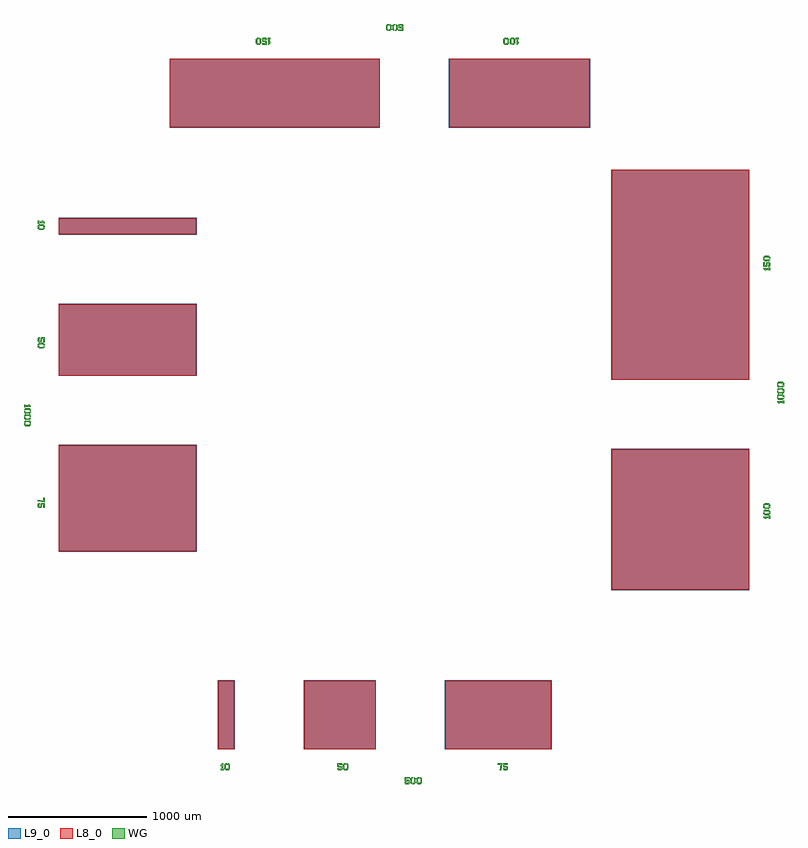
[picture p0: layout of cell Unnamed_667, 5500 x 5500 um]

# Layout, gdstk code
from math import pi, radians
import gdstk
lib = gdstk.Library(unit=1e-6, precision=1e-09)
def R(c, l, rs):  # rectangles x0, y0, x1, y1
    for r in rs: c.add(gdstk.rectangle(r[:2], r[2:], *l))
def P(c, l, *ps):  # polygons
    for p in ps: c.add(gdstk.Polygon(p, *l))
WG = (1, 0)
L8_0 = (8, 0)
L9_0 = (9, 0)

rectangle_s1522_1000_l9_ = lib.new_cell('rectangle_S1522_1000_L9_b6fc3a18')
R(rectangle_s1522_1000_l9_, L9_0, [(0,0,1522,1000)])

text_t150_s50_p0_0_jleft = lib.new_cell('text_T150_S50_P0_0_Jleft_L1_0')
P(text_t150_s50_p0_0_jleft, WG, [(88.5,0),(91,10),(95,10),(100,15),(100,35),(95,40),(97.5,50),(100,50),(110,40),(110,10),(100,0)],
  [(80,0),(70,10),(70,40),(80,50),(91.5,50),(89,40),(85,40),(80,35),(80,15),(85,10),(82.5,0)],
  [(35,0),(30,5),(30,15),(40,15),(40,10),(55,10),(55,20),(35,20),(30,25),(30,50),(65,50),(65,40),(40,40),(40,30),(60,30),(65,25),(65,5),(60,0)],
  [(5,0),(5,10),(10,10),(10,30),(5,30),(5,40),(15,50),(20,50),(20,10),(25,10),(25,0)])

rectangle_s150_998_l8_0_ = lib.new_cell('rectangle_S150_998_L8_0_cd40ac17')
R(rectangle_s150_998_l8_0_, L8_0, [(0,0,150,998)])

unnamed_656 = lib.new_cell('Unnamed_656')
unnamed_656.add(gdstk.Reference(rectangle_s1522_1000_l9_, (-347.455,0)))
unnamed_656.add(gdstk.Reference(text_t150_s50_p0_0_jleft, (440.545,-150)))
unnamed_656.add(gdstk.Reference(rectangle_s150_998_l8_0_, (-345.455,0)))
unnamed_656.add(gdstk.Reference(rectangle_s150_998_l8_0_, (-193.455,0)))
unnamed_656.add(gdstk.Reference(rectangle_s150_998_l8_0_, (-41.455,0)))
unnamed_656.add(gdstk.Reference(rectangle_s150_998_l8_0_, (110.545,0)))
unnamed_656.add(gdstk.Reference(rectangle_s150_998_l8_0_, (262.545,0)))
unnamed_656.add(gdstk.Reference(rectangle_s150_998_l8_0_, (414.545,0)))
unnamed_656.add(gdstk.Reference(rectangle_s150_998_l8_0_, (566.545,0)))
unnamed_656.add(gdstk.Reference(rectangle_s150_998_l8_0_, (718.545,0)))
unnamed_656.add(gdstk.Reference(rectangle_s150_998_l8_0_, (870.545,0)))
unnamed_656.add(gdstk.Reference(rectangle_s150_998_l8_0_, (1022.545,0)))

text_t1000_s50_p0_0_jlef = lib.new_cell('text_T1000_S50_P0_0_Jleft_L1_0')
P(text_t1000_s50_p0_0_jlef, WG, [(48.5,0),(51,10),(55,10),(60,15),(60,35),(55,40),(57.5,50),(60,50),(70,40),(70,10),(60,0)],
  [(93.5,0),(96,10),(100,10),(105,15),(105,35),(100,40),(102.5,50),(105,50),(115,40),(115,10),(105,0)],
  [(138.5,0),(141,10),(145,10),(150,15),(150,35),(145,40),(147.5,50),(150,50),(160,40),(160,10),(150,0)],
  [(40,0),(30,10),(30,40),(40,50),(51.5,50),(49,40),(45,40),(40,35),(40,15),(45,10),(42.5,0)],
  [(85,0),(75,10),(75,40),(85,50),(96.5,50),(94,40),(90,40),(85,35),(85,15),(90,10),(87.5,0)],
  [(130,0),(120,10),(120,40),(130,50),(141.5,50),(139,40),(135,40),(130,35),(130,15),(135,10),(132.5,0)],
  [(5,0),(5,10),(10,10),(10,30),(5,30),(5,40),(15,50),(20,50),(20,10),(25,10),(25,0)])

rectangle_s1022_1000_l9_ = lib.new_cell('rectangle_S1022_1000_L9_34ee5ec5')
R(rectangle_s1022_1000_l9_, L9_0, [(0,0,1022,1000)])

text_t100_s50_p0_0_jleft = lib.new_cell('text_T100_S50_P0_0_Jleft_L1_0')
P(text_t100_s50_p0_0_jleft, WG, [(48.5,0),(51,10),(55,10),(60,15),(60,35),(55,40),(57.5,50),(60,50),(70,40),(70,10),(60,0)],
  [(93.5,0),(96,10),(100,10),(105,15),(105,35),(100,40),(102.5,50),(105,50),(115,40),(115,10),(105,0)],
  [(40,0),(30,10),(30,40),(40,50),(51.5,50),(49,40),(45,40),(40,35),(40,15),(45,10),(42.5,0)],
  [(85,0),(75,10),(75,40),(85,50),(96.5,50),(94,40),(90,40),(85,35),(85,15),(90,10),(87.5,0)],
  [(5,0),(5,10),(10,10),(10,30),(5,30),(5,40),(15,50),(20,50),(20,10),(25,10),(25,0)])

rectangle_s100_998_l8_0_ = lib.new_cell('rectangle_S100_998_L8_0_c306aa22')
R(rectangle_s100_998_l8_0_, L8_0, [(0,0,100,998)])

unnamed_655 = lib.new_cell('Unnamed_655')
unnamed_655.add(gdstk.Reference(rectangle_s1022_1000_l9_, (-347.455,0)))
unnamed_655.add(gdstk.Reference(text_t100_s50_p0_0_jleft, (165.545,-150)))
unnamed_655.add(gdstk.Reference(rectangle_s100_998_l8_0_, (-345.455,0)))
unnamed_655.add(gdstk.Reference(rectangle_s100_998_l8_0_, (-243.455,0)))
unnamed_655.add(gdstk.Reference(rectangle_s100_998_l8_0_, (-141.455,0)))
unnamed_655.add(gdstk.Reference(rectangle_s100_998_l8_0_, (-39.455,0)))
unnamed_655.add(gdstk.Reference(rectangle_s100_998_l8_0_, (62.545,0)))
unnamed_655.add(gdstk.Reference(rectangle_s100_998_l8_0_, (164.545,0)))
unnamed_655.add(gdstk.Reference(rectangle_s100_998_l8_0_, (266.545,0)))
unnamed_655.add(gdstk.Reference(rectangle_s100_998_l8_0_, (368.545,0)))
unnamed_655.add(gdstk.Reference(rectangle_s100_998_l8_0_, (470.545,0)))
unnamed_655.add(gdstk.Reference(rectangle_s100_998_l8_0_, (572.545,0)))

unnamed_666 = lib.new_cell('Unnamed_666')
unnamed_666.add(gdstk.Reference(unnamed_656, (3022,0)))
unnamed_666.add(gdstk.Reference(text_t1000_s50_p0_0_jlef, (2500,-250)))
unnamed_666.add(gdstk.Reference(unnamed_655, (1500,0)))

rectangle_s772_1000_l9__ = lib.new_cell('rectangle_S772_1000_L9__6c6e360b')
R(rectangle_s772_1000_l9__, L9_0, [(0,0,772,1000)])

text_t75_s50_p0_0_jleft_ = lib.new_cell('text_T75_S50_P0_0_Jleft_L1_0')
P(text_t75_s50_p0_0_jleft_, WG, [(50,0),(45,5),(45,15),(55,15),(55,10),(70,10),(70,20),(50,20),(45,25),(45,50),(80,50),(80,40),(55,40),(55,30),(75,30),(80,25),(80,5),(75,0)],
  [(20,0),(28,40),(5,40),(5,50),(40,50),(30,0)])

rectangle_s75_998_l8_0__ = lib.new_cell('rectangle_S75_998_L8_0__cc8ebacf')
R(rectangle_s75_998_l8_0__, L8_0, [(0,0,75,998)])

unnamed_654 = lib.new_cell('Unnamed_654')
unnamed_654.add(gdstk.Reference(rectangle_s772_1000_l9__, (-347.455,0)))
unnamed_654.add(gdstk.Reference(text_t75_s50_p0_0_jleft_, (28.045,-150)))
unnamed_654.add(gdstk.Reference(rectangle_s75_998_l8_0__, (-345.455,0)))
unnamed_654.add(gdstk.Reference(rectangle_s75_998_l8_0__, (-268.455,0)))
unnamed_654.add(gdstk.Reference(rectangle_s75_998_l8_0__, (-191.455,0)))
unnamed_654.add(gdstk.Reference(rectangle_s75_998_l8_0__, (-114.455,0)))
unnamed_654.add(gdstk.Reference(rectangle_s75_998_l8_0__, (-37.455,0)))
unnamed_654.add(gdstk.Reference(rectangle_s75_998_l8_0__, (39.545,0)))
unnamed_654.add(gdstk.Reference(rectangle_s75_998_l8_0__, (116.545,0)))
unnamed_654.add(gdstk.Reference(rectangle_s75_998_l8_0__, (193.545,0)))
unnamed_654.add(gdstk.Reference(rectangle_s75_998_l8_0__, (270.545,0)))
unnamed_654.add(gdstk.Reference(rectangle_s75_998_l8_0__, (347.545,0)))

rectangle_s522_1000_l9__ = lib.new_cell('rectangle_S522_1000_L9__e8a8a2df')
R(rectangle_s522_1000_l9__, L9_0, [(0,0,522,1000)])

text_t50_s50_p0_0_jleft_ = lib.new_cell('text_T50_S50_P0_0_Jleft_L1_0')
P(text_t50_s50_p0_0_jleft_, WG, [(63.5,0),(66,10),(70,10),(75,15),(75,35),(70,40),(72.5,50),(75,50),(85,40),(85,10),(75,0)],
  [(55,0),(45,10),(45,40),(55,50),(66.5,50),(64,40),(60,40),(55,35),(55,15),(60,10),(57.5,0)],
  [(10,0),(5,5),(5,15),(15,15),(15,10),(30,10),(30,20),(10,20),(5,25),(5,50),(40,50),(40,40),(15,40),(15,30),(35,30),(40,25),(40,5),(35,0)])

rectangle_s50_998_l8_0__ = lib.new_cell('rectangle_S50_998_L8_0__a3cc393b')
R(rectangle_s50_998_l8_0__, L8_0, [(0,0,50,998)])

unnamed_653 = lib.new_cell('Unnamed_653')
unnamed_653.add(gdstk.Reference(rectangle_s522_1000_l9__, (-347.455,0)))
unnamed_653.add(gdstk.Reference(text_t50_s50_p0_0_jleft_, (-109.455,-150)))
unnamed_653.add(gdstk.Reference(rectangle_s50_998_l8_0__, (-345.455,0)))
unnamed_653.add(gdstk.Reference(rectangle_s50_998_l8_0__, (-293.455,0)))
unnamed_653.add(gdstk.Reference(rectangle_s50_998_l8_0__, (-241.455,0)))
unnamed_653.add(gdstk.Reference(rectangle_s50_998_l8_0__, (-189.455,0)))
unnamed_653.add(gdstk.Reference(rectangle_s50_998_l8_0__, (-137.455,0)))
unnamed_653.add(gdstk.Reference(rectangle_s50_998_l8_0__, (-85.455,0)))
unnamed_653.add(gdstk.Reference(rectangle_s50_998_l8_0__, (-33.455,0)))
unnamed_653.add(gdstk.Reference(rectangle_s50_998_l8_0__, (18.545,0)))
unnamed_653.add(gdstk.Reference(rectangle_s50_998_l8_0__, (70.545,0)))
unnamed_653.add(gdstk.Reference(rectangle_s50_998_l8_0__, (122.545,0)))

rectangle_s122_1000_l9__ = lib.new_cell('rectangle_S122_1000_L9__1de77251')
R(rectangle_s122_1000_l9__, L9_0, [(0,0,122,1000)])

text_t10_s50_p0_0_jleft_ = lib.new_cell('text_T10_S50_P0_0_Jleft_L1_0')
P(text_t10_s50_p0_0_jleft_, WG, [(48.5,0),(51,10),(55,10),(60,15),(60,35),(55,40),(57.5,50),(60,50),(70,40),(70,10),(60,0)],
  [(40,0),(30,10),(30,40),(40,50),(51.5,50),(49,40),(45,40),(40,35),(40,15),(45,10),(42.5,0)],
  [(5,0),(5,10),(10,10),(10,30),(5,30),(5,40),(15,50),(20,50),(20,10),(25,10),(25,0)])

rectangle_s10_998_l8_0__ = lib.new_cell('rectangle_S10_998_L8_0__618c10ad')
R(rectangle_s10_998_l8_0__, L8_0, [(0,0,10,998)])

unnamed_652 = lib.new_cell('Unnamed_652')
unnamed_652.add(gdstk.Reference(rectangle_s122_1000_l9__, (-347.455,0)))
unnamed_652.add(gdstk.Reference(text_t10_s50_p0_0_jleft_, (-329.455,-150)))
unnamed_652.add(gdstk.Reference(rectangle_s10_998_l8_0__, (-345.455,0)))
unnamed_652.add(gdstk.Reference(rectangle_s10_998_l8_0__, (-333.455,0)))
unnamed_652.add(gdstk.Reference(rectangle_s10_998_l8_0__, (-321.455,0)))
unnamed_652.add(gdstk.Reference(rectangle_s10_998_l8_0__, (-309.455,0)))
unnamed_652.add(gdstk.Reference(rectangle_s10_998_l8_0__, (-297.455,0)))
unnamed_652.add(gdstk.Reference(rectangle_s10_998_l8_0__, (-285.455,0)))
unnamed_652.add(gdstk.Reference(rectangle_s10_998_l8_0__, (-273.455,0)))
unnamed_652.add(gdstk.Reference(rectangle_s10_998_l8_0__, (-261.455,0)))
unnamed_652.add(gdstk.Reference(rectangle_s10_998_l8_0__, (-249.455,0)))
unnamed_652.add(gdstk.Reference(rectangle_s10_998_l8_0__, (-237.455,0)))

unnamed_665 = lib.new_cell('Unnamed_665')
unnamed_665.add(gdstk.Reference(text_t1000_s50_p0_0_jlef, (2500,-250)))
unnamed_665.add(gdstk.Reference(unnamed_654, (3144,0)))
unnamed_665.add(gdstk.Reference(unnamed_653, (2122,0)))
unnamed_665.add(gdstk.Reference(unnamed_652, (1500,0)))

text_t500_s50_p0_0_jleft = lib.new_cell('text_T500_S50_P0_0_Jleft_L1_0')
P(text_t500_s50_p0_0_jleft, WG, [(63.5,0),(66,10),(70,10),(75,15),(75,35),(70,40),(72.5,50),(75,50),(85,40),(85,10),(75,0)],
  [(108.5,0),(111,10),(115,10),(120,15),(120,35),(115,40),(117.5,50),(120,50),(130,40),(130,10),(120,0)],
  [(55,0),(45,10),(45,40),(55,50),(66.5,50),(64,40),(60,40),(55,35),(55,15),(60,10),(57.5,0)],
  [(100,0),(90,10),(90,40),(100,50),(111.5,50),(109,40),(105,40),(100,35),(100,15),(105,10),(102.5,0)],
  [(10,0),(5,5),(5,15),(15,15),(15,10),(30,10),(30,20),(10,20),(5,25),(5,50),(40,50),(40,40),(15,40),(15,30),(35,30),(40,25),(40,5),(35,0)])

rectangle_s1522_500_l9__ = lib.new_cell('rectangle_S1522_500_L9__e665eb4e')
R(rectangle_s1522_500_l9__, L9_0, [(0,0,1522,500)])

rectangle_s150_498_l8_0_ = lib.new_cell('rectangle_S150_498_L8_0_3344f8a4')
R(rectangle_s150_498_l8_0_, L8_0, [(0,0,150,498)])

unnamed_651 = lib.new_cell('Unnamed_651')
unnamed_651.add(gdstk.Reference(rectangle_s1522_500_l9__, (-347.455,0)))
unnamed_651.add(gdstk.Reference(text_t150_s50_p0_0_jleft, (440.545,-150)))
unnamed_651.add(gdstk.Reference(rectangle_s150_498_l8_0_, (-345.455,0)))
unnamed_651.add(gdstk.Reference(rectangle_s150_498_l8_0_, (-193.455,0)))
unnamed_651.add(gdstk.Reference(rectangle_s150_498_l8_0_, (-41.455,0)))
unnamed_651.add(gdstk.Reference(rectangle_s150_498_l8_0_, (110.545,0)))
unnamed_651.add(gdstk.Reference(rectangle_s150_498_l8_0_, (262.545,0)))
unnamed_651.add(gdstk.Reference(rectangle_s150_498_l8_0_, (414.545,0)))
unnamed_651.add(gdstk.Reference(rectangle_s150_498_l8_0_, (566.545,0)))
unnamed_651.add(gdstk.Reference(rectangle_s150_498_l8_0_, (718.545,0)))
unnamed_651.add(gdstk.Reference(rectangle_s150_498_l8_0_, (870.545,0)))
unnamed_651.add(gdstk.Reference(rectangle_s150_498_l8_0_, (1022.545,0)))

rectangle_s1022_500_l9__ = lib.new_cell('rectangle_S1022_500_L9__7b66dc4e')
R(rectangle_s1022_500_l9__, L9_0, [(0,0,1022,500)])

rectangle_s100_498_l8_0_ = lib.new_cell('rectangle_S100_498_L8_0_8e44272a')
R(rectangle_s100_498_l8_0_, L8_0, [(0,0,100,498)])

unnamed_650 = lib.new_cell('Unnamed_650')
unnamed_650.add(gdstk.Reference(rectangle_s1022_500_l9__, (-347.455,0)))
unnamed_650.add(gdstk.Reference(text_t100_s50_p0_0_jleft, (165.545,-150)))
unnamed_650.add(gdstk.Reference(rectangle_s100_498_l8_0_, (-345.455,0)))
unnamed_650.add(gdstk.Reference(rectangle_s100_498_l8_0_, (-243.455,0)))
unnamed_650.add(gdstk.Reference(rectangle_s100_498_l8_0_, (-141.455,0)))
unnamed_650.add(gdstk.Reference(rectangle_s100_498_l8_0_, (-39.455,0)))
unnamed_650.add(gdstk.Reference(rectangle_s100_498_l8_0_, (62.545,0)))
unnamed_650.add(gdstk.Reference(rectangle_s100_498_l8_0_, (164.545,0)))
unnamed_650.add(gdstk.Reference(rectangle_s100_498_l8_0_, (266.545,0)))
unnamed_650.add(gdstk.Reference(rectangle_s100_498_l8_0_, (368.545,0)))
unnamed_650.add(gdstk.Reference(rectangle_s100_498_l8_0_, (470.545,0)))
unnamed_650.add(gdstk.Reference(rectangle_s100_498_l8_0_, (572.545,0)))

unnamed_664 = lib.new_cell('Unnamed_664')
unnamed_664.add(gdstk.Reference(text_t500_s50_p0_0_jleft, (2500,-250)))
unnamed_664.add(gdstk.Reference(unnamed_651, (3022,0)))
unnamed_664.add(gdstk.Reference(unnamed_650, (1500,0)))

rectangle_s772_500_l9_0_ = lib.new_cell('rectangle_S772_500_L9_0_f8fbfb8e')
R(rectangle_s772_500_l9_0_, L9_0, [(0,0,772,500)])

rectangle_s75_498_l8_0__ = lib.new_cell('rectangle_S75_498_L8_0__5f6cecd9')
R(rectangle_s75_498_l8_0__, L8_0, [(0,0,75,498)])

unnamed_649 = lib.new_cell('Unnamed_649')
unnamed_649.add(gdstk.Reference(rectangle_s772_500_l9_0_, (-347.455,0)))
unnamed_649.add(gdstk.Reference(text_t75_s50_p0_0_jleft_, (28.045,-150)))
unnamed_649.add(gdstk.Reference(rectangle_s75_498_l8_0__, (-345.455,0)))
unnamed_649.add(gdstk.Reference(rectangle_s75_498_l8_0__, (-268.455,0)))
unnamed_649.add(gdstk.Reference(rectangle_s75_498_l8_0__, (-191.455,0)))
unnamed_649.add(gdstk.Reference(rectangle_s75_498_l8_0__, (-114.455,0)))
unnamed_649.add(gdstk.Reference(rectangle_s75_498_l8_0__, (-37.455,0)))
unnamed_649.add(gdstk.Reference(rectangle_s75_498_l8_0__, (39.545,0)))
unnamed_649.add(gdstk.Reference(rectangle_s75_498_l8_0__, (116.545,0)))
unnamed_649.add(gdstk.Reference(rectangle_s75_498_l8_0__, (193.545,0)))
unnamed_649.add(gdstk.Reference(rectangle_s75_498_l8_0__, (270.545,0)))
unnamed_649.add(gdstk.Reference(rectangle_s75_498_l8_0__, (347.545,0)))

rectangle_s522_500_l9_0_ = lib.new_cell('rectangle_S522_500_L9_0_2f4601c8')
R(rectangle_s522_500_l9_0_, L9_0, [(0,0,522,500)])

rectangle_s50_498_l8_0__ = lib.new_cell('rectangle_S50_498_L8_0__cadecadc')
R(rectangle_s50_498_l8_0__, L8_0, [(0,0,50,498)])

unnamed_648 = lib.new_cell('Unnamed_648')
unnamed_648.add(gdstk.Reference(rectangle_s522_500_l9_0_, (-347.455,0)))
unnamed_648.add(gdstk.Reference(text_t50_s50_p0_0_jleft_, (-109.455,-150)))
unnamed_648.add(gdstk.Reference(rectangle_s50_498_l8_0__, (-345.455,0)))
unnamed_648.add(gdstk.Reference(rectangle_s50_498_l8_0__, (-293.455,0)))
unnamed_648.add(gdstk.Reference(rectangle_s50_498_l8_0__, (-241.455,0)))
unnamed_648.add(gdstk.Reference(rectangle_s50_498_l8_0__, (-189.455,0)))
unnamed_648.add(gdstk.Reference(rectangle_s50_498_l8_0__, (-137.455,0)))
unnamed_648.add(gdstk.Reference(rectangle_s50_498_l8_0__, (-85.455,0)))
unnamed_648.add(gdstk.Reference(rectangle_s50_498_l8_0__, (-33.455,0)))
unnamed_648.add(gdstk.Reference(rectangle_s50_498_l8_0__, (18.545,0)))
unnamed_648.add(gdstk.Reference(rectangle_s50_498_l8_0__, (70.545,0)))
unnamed_648.add(gdstk.Reference(rectangle_s50_498_l8_0__, (122.545,0)))

rectangle_s122_500_l9_0_ = lib.new_cell('rectangle_S122_500_L9_0_ffbf6d70')
R(rectangle_s122_500_l9_0_, L9_0, [(0,0,122,500)])

rectangle_s10_498_l8_0__ = lib.new_cell('rectangle_S10_498_L8_0__ad3ec932')
R(rectangle_s10_498_l8_0__, L8_0, [(0,0,10,498)])

unnamed_647 = lib.new_cell('Unnamed_647')
unnamed_647.add(gdstk.Reference(text_t10_s50_p0_0_jleft_, (-329.455,-150)))
unnamed_647.add(gdstk.Reference(rectangle_s122_500_l9_0_, (-347.455,0)))
unnamed_647.add(gdstk.Reference(rectangle_s10_498_l8_0__, (-345.455,0)))
unnamed_647.add(gdstk.Reference(rectangle_s10_498_l8_0__, (-333.455,0)))
unnamed_647.add(gdstk.Reference(rectangle_s10_498_l8_0__, (-321.455,0)))
unnamed_647.add(gdstk.Reference(rectangle_s10_498_l8_0__, (-309.455,0)))
unnamed_647.add(gdstk.Reference(rectangle_s10_498_l8_0__, (-297.455,0)))
unnamed_647.add(gdstk.Reference(rectangle_s10_498_l8_0__, (-285.455,0)))
unnamed_647.add(gdstk.Reference(rectangle_s10_498_l8_0__, (-273.455,0)))
unnamed_647.add(gdstk.Reference(rectangle_s10_498_l8_0__, (-261.455,0)))
unnamed_647.add(gdstk.Reference(rectangle_s10_498_l8_0__, (-249.455,0)))
unnamed_647.add(gdstk.Reference(rectangle_s10_498_l8_0__, (-237.455,0)))

unnamed_663 = lib.new_cell('Unnamed_663')
unnamed_663.add(gdstk.Reference(text_t500_s50_p0_0_jleft, (2500,-250)))
unnamed_663.add(gdstk.Reference(unnamed_649, (3144,0)))
unnamed_663.add(gdstk.Reference(unnamed_648, (2122,0)))
unnamed_663.add(gdstk.Reference(unnamed_647, (1500,0)))

unnamed_667 = lib.new_cell('Unnamed_667')
unnamed_667.add(gdstk.Reference(unnamed_666, (5000,0), rotation=pi/2))
unnamed_667.add(gdstk.Reference(unnamed_665, (0,5000), rotation=3*pi/2))
unnamed_667.add(gdstk.Reference(unnamed_664, (5000,5000), rotation=pi))
unnamed_667.add(gdstk.Reference(unnamed_663, (0,0)))

lib.write_gds('Unnamed_667.gds')
